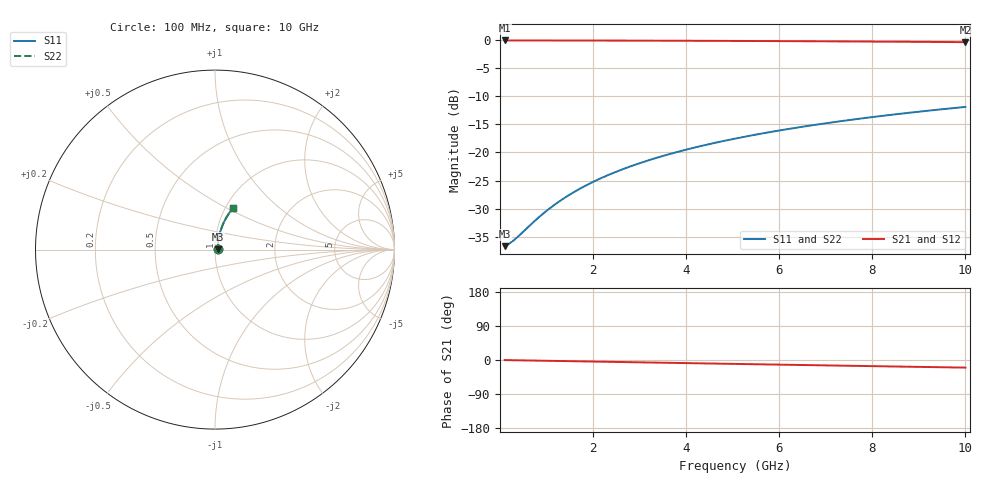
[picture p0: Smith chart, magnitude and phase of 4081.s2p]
# Hz S RI R 50.00
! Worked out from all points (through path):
!   100 points, 100 MHz to 10 GHz, reference 50 ohm
!   highest |S21| = -0.13 dB at 100 MHz (marker M1); lowest = -0.4 dB at 10 GHz (marker M2)
!   group delay of S21, straight-line fit = 5.59 ps
!   lowest |S11| = -36.6 dB at 100 MHz (marker M3), VSWR 1.03, Z = 51.5 + j0.267 ohm
!   |S11| at or under -10 dB: start of sweep to end of sweep
!   |S22| runs from -36.6 to -11.9 dB; largest |S21 - S12| = 0
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1e8  0.0145 0.00259  0.9855 -0.00353  0.9855 -0.00353  0.0145 0.00259
2e8  0.0147 0.00518  0.9853 -0.00706  0.9853 -0.00706  0.0147 0.00518
3e8  0.0148 0.00776  0.9852 -0.0106  0.9852 -0.0106  0.0148 0.00776
4e8  0.0149 0.0103  0.9851 -0.0141  0.9851 -0.0141  0.0149 0.0103
8e8  0.0155 0.0207  0.9845 -0.0282  0.9845 -0.0282  0.0155 0.0207
1.1e9  0.0161 0.0284  0.9838 -0.0388  0.9838 -0.0388  0.0161 0.0284
1.4e9  0.0169 0.0361  0.983 -0.0493  0.983 -0.0493  0.0169 0.0361
1.6e9  0.0175 0.0413  0.9824 -0.0564  0.9824 -0.0564  0.0175 0.0413
1.8e9  0.0182 0.0464  0.9817 -0.0634  0.9817 -0.0634  0.0182 0.0464
2.1e9  0.0193 0.054  0.9805 -0.0739  0.9805 -0.0739  0.0193 0.054
2.5e9  0.021 0.0642  0.9787 -0.0878  0.9787 -0.0878  0.021 0.0642
2.9e9  0.0231 0.0743  0.9765 -0.1017  0.9765 -0.1017  0.0231 0.0743
3.4e9  0.026 0.0868  0.9734 -0.1189  0.9734 -0.1189  0.026 0.0868
3.8e9  0.0287 0.0967  0.9706 -0.1326  0.9706 -0.1326  0.0287 0.0967
4.2e9  0.0316 0.1065  0.9675 -0.1461  0.9675 -0.1461  0.0316 0.1065
4.6e9  0.0348 0.1162  0.9642 -0.1596  0.9642 -0.1596  0.0348 0.1162
5.1e9  0.0392 0.1281  0.9596 -0.1763  0.9596 -0.1763  0.0392 0.1281
5.9e9  0.047 0.1468  0.9513 -0.2026  0.9513 -0.2026  0.047 0.1468
6.7e9  0.0559 0.1649  0.9421 -0.2283  0.9421 -0.2283  0.0559 0.1649
7.5e9  0.0656 0.1824  0.9318 -0.2534  0.9318 -0.2534  0.0656 0.1824
8.4e9  0.0776 0.2013  0.9191 -0.2808  0.9191 -0.2808  0.0776 0.2013
1e10  0.1014 0.2324  0.894 -0.3272  0.894 -0.3272  0.1014 0.2324
